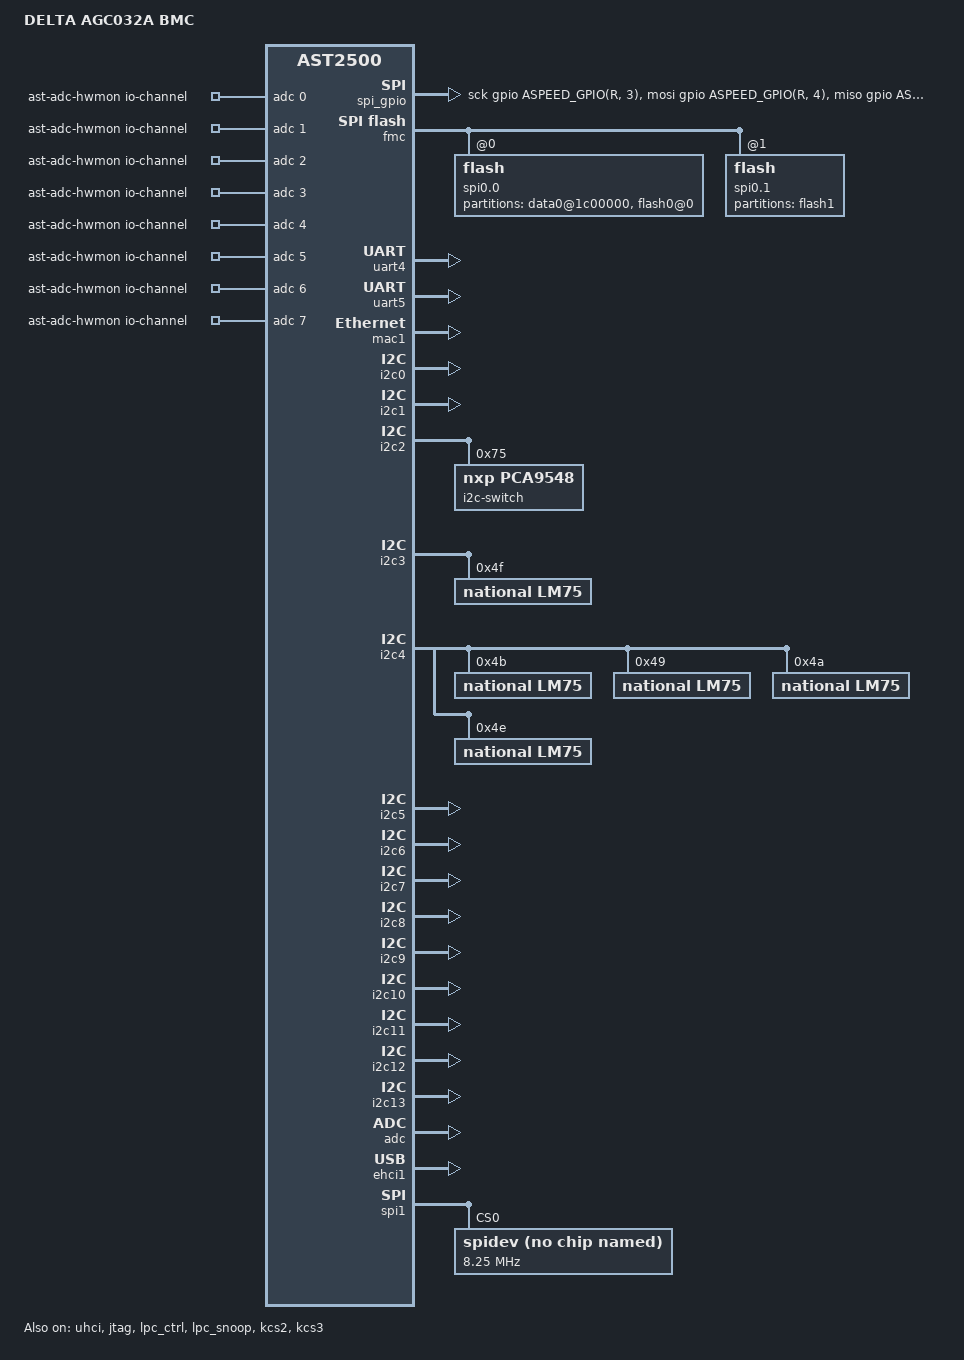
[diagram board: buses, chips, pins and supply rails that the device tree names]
// SPDX-License-Identifier: GPL-2.0+
// Delta Electronic, Inc.
/dts-v1/;

#include <dt-bindings/gpio/aspeed-gpio.h>
#include "ast2500-facebook-netbmc-common.dtsi"

/ {
	model = "DELTA AGC032A BMC";
	compatible = "delta,agc032a-bmc", "aspeed,ast2500";

	aliases {
		/*
		 * I2C switch 2-0075, pca9548, total 8 child channels
		 * assigned bus number 14-21.
		 */
		i2c14 = &imux14;
		i2c15 = &imux15;
		i2c16 = &imux16;
		i2c17 = &imux17;
		i2c18 = &imux18;
		i2c19 = &imux19;
		i2c20 = &imux20;
		i2c21 = &imux21;

		spi1 = &spi1;
		spi2 = &spi_gpio;

		serial0 = &uart1;
		serial4 = &uart5;
	};

	chosen {
		stdout-path = &uart5;
		bootargs = "console=ttyS4,115200n8 root=/dev/ram rw";
	};

	ast-adc-hwmon {
		compatible = "iio-hwmon";
		io-channels = <&adc 0>, <&adc 1>, <&adc 2>, <&adc 3>,
			      <&adc 4>, <&adc 5>, <&adc 6>, <&adc 7>,
				  <&adc 8>, <&adc 9>, <&adc 10>, <&adc 11>,
			      <&adc 12>, <&adc 13>, <&adc 14>, <&adc 15>;
	};

	spi_gpio: spi-gpio {
		status = "okay";
		compatible = "spi-gpio";
		#address-cells = <1>;
		#size-cells = <0>;

		gpio-sck = <&gpio ASPEED_GPIO(R, 3) GPIO_ACTIVE_HIGH>;
		gpio-mosi = <&gpio ASPEED_GPIO(R, 4) GPIO_ACTIVE_HIGH>;
		gpio-miso = <&gpio ASPEED_GPIO(R, 5) GPIO_ACTIVE_HIGH>;
		num-chipselects = <1>;
		cs-gpios = <&gpio ASPEED_GPIO(R, 2) GPIO_ACTIVE_LOW>;
	};
};

&fmc {
	status = "okay";

	flash@0 {
		status = "okay";
		m25p,fast-read;
		label = "spi0.0";
#include "facebook-bmc-flash-layout.dtsi"

		partitions {
			data0@1c00000 {
				reg = <0x1c00000 0x6400000>;
			};

			flash0@0 {
				reg = <0x0 0x8000000>;
			};
		};
	};

	flash@1 {
		status = "okay";
		m25p,fast-read;
		label = "spi0.1";

		partitions {
			compatible = "fixed-partitions";
			#address-cells = <1>;
			#size-cells = <1>;

			flash1@0 {
				reg = <0x0 0x8000000>;
				label = "flash1";
			};
		};
	};
};

&uart4 {
	status = "okay";
	pinctrl-names = "default";
	pinctrl-0 = <&pinctrl_txd4_default
		     &pinctrl_rxd4_default>;
};

&uart5 {
	status = "okay";
};

&mac1 {
	status = "okay";

	use-ncsi;
	pinctrl-names = "default";
	pinctrl-0 = <&pinctrl_rmii2_default>;
};

&i2c0 {
	status = "okay";
	multi-master;
	bus-frequency = <1000000>;
	aspeed,hw-timeout-ms = <1000>;
};

&i2c1 {
	status = "okay";
};

&i2c2 {
	status = "okay";

	i2c-switch@75 {
		compatible = "nxp,pca9548";
		#address-cells = <1>;
		#size-cells = <0>;
		reg = <0x75>;

		imux14: i2c@0 {
			#address-cells = <1>;
			#size-cells = <0>;
			reg = <0>;
		};

		imux15: i2c@1 {
			#address-cells = <1>;
			#size-cells = <0>;
			reg = <1>;
		};

		imux16: i2c@2 {
			#address-cells = <1>;
			#size-cells = <0>;
			reg = <2>;
		};

		imux17: i2c@3 {
			#address-cells = <1>;
			#size-cells = <0>;
			reg = <3>;
		};

		imux18: i2c@4 {
			#address-cells = <1>;
			#size-cells = <0>;
			reg = <4>;
		};

		imux19: i2c@5 {
			#address-cells = <1>;
			#size-cells = <0>;
			reg = <5>;
		};

		imux20: i2c@6 {
			#address-cells = <1>;
			#size-cells = <0>;
			reg = <6>;
		};

		imux21: i2c@7 {
			#address-cells = <1>;
			#size-cells = <0>;
			reg = <7>;
		};
	};
};


&i2c3 {
	status = "okay";

	lm75@4f {
		compatible = "national,lm75";
		reg = <0x4f>;
	};
};

&i2c4 {
	status = "okay";

	lm75@4b {
		compatible = "national,lm75";
		reg = <0x4b>;
	};
	lm75@49 {
		compatible = "national,lm75";
		reg = <0x49>;
	};
	lm75@4a {
		compatible = "national,lm75";
		reg = <0x4a>;
	};
	lm75@4e {
		compatible = "national,lm75";
		reg = <0x4e>;
	};
};

&i2c5 {
	status = "okay";
};

&i2c6 {
	status = "okay";
};

&i2c7 {
	status = "okay";
};

&i2c8 {
	status = "okay";
};

&i2c9 {
	status = "okay";
};

&i2c10 {
	status = "okay";
};

&i2c11 {
	status = "okay";
};

&i2c12 {
	status = "okay";
};

&i2c13 {
	status = "okay";
};


&adc {
	status = "okay";
};

&ehci1 {
	status = "okay";
};

&uhci {
	status = "okay";
};

&sdhci1 {
	aspeed,sdhci-disable-dma;
};

&jtag {
	status = "okay";
};

&spi1 {
	status = "okay";
	compatible = "aspeed,ast2500-spi-master";

	spidev@0 {
		compatible = "rohm,dh2228fv";
		spi-max-frequency = <8250000>;
		reg = <0>;
	};
};

&lpc_ctrl {
	// Enable lpc clock
	status = "okay";
	compatible = "aspeed,ast2500-lpc-ctrl";
};

&lpc_snoop {
	status = "okay";
	compatible = "aspeed,ast2500-lpc-snoop";
	snoop-ports = <0x80>;
};


&kcs2 {
	// BMC KCS channel 2
	status = "okay";
	kcs_addr = <0xca8>;
};

&kcs3 {
	// BMC KCS channel 3
	status = "okay";
	kcs_addr = <0xca2>;

};
